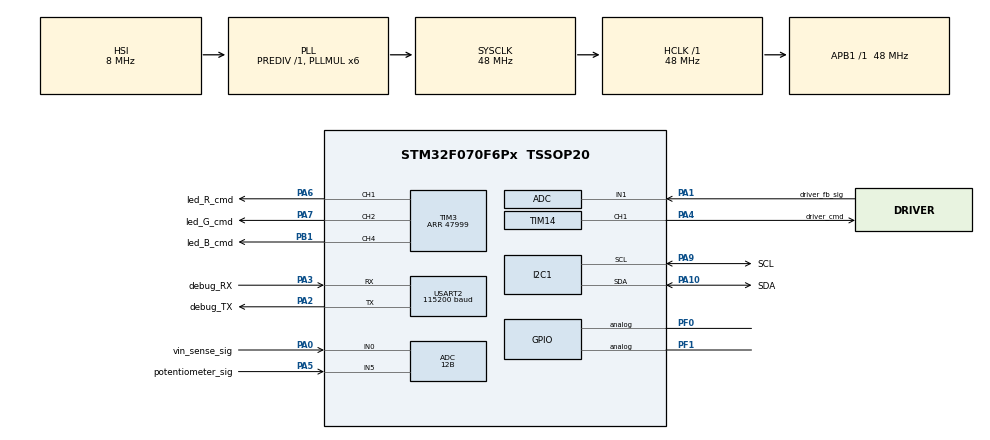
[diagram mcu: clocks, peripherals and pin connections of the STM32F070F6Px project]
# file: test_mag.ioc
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ADC.ClockPrescaler=ADC_CLOCK_ASYNC_DIV1
ADC.ContinuousConvMode=DISABLE
ADC.DMAContinuousRequests=ENABLE
ADC.DataAlign=ADC_DATAALIGN_RIGHT
ADC.DiscontinuousConvMode=DISABLE
ADC.EOCSelection=ADC_EOC_SEQ_CONV
ADC.EnableAnalogWatchDog=false
ADC.ExternalTrigConv=ADC_EXTERNALTRIGCONV_T1_TRGO
ADC.ExternalTrigConvEdge=ADC_EXTERNALTRIGCONVEDGE_RISING
ADC.LowPowerAutoPowerOff=DISABLE
ADC.LowPowerAutoWait=DISABLE
ADC.Overrun=ADC_OVR_DATA_PRESERVED
ADC.Resolution=ADC_RESOLUTION_12B
ADC.SamplingTime=ADC_SAMPLETIME_7CYCLES_5
ADC.ScanConvMode=ADC_SCAN_DIRECTION_FORWARD
Dma.ADC.1.Direction=DMA_PERIPH_TO_MEMORY
Dma.ADC.1.Instance=DMA1_Channel1
Dma.ADC.1.MemDataAlignment=DMA_MDATAALIGN_HALFWORD
Dma.ADC.1.MemInc=DMA_MINC_ENABLE
Dma.ADC.1.Mode=DMA_NORMAL
Dma.ADC.1.PeriphDataAlignment=DMA_PDATAALIGN_HALFWORD
Dma.ADC.1.PeriphInc=DMA_PINC_DISABLE
Dma.ADC.1.Priority=DMA_PRIORITY_LOW
Dma.Request0=USART2_TX
Dma.Request1=ADC
Dma.USART2_TX.0.Direction=DMA_MEMORY_TO_PERIPH
Dma.USART2_TX.0.Instance=DMA1_Channel4
Dma.USART2_TX.0.MemDataAlignment=DMA_MDATAALIGN_BYTE
Dma.USART2_TX.0.MemInc=DMA_MINC_ENABLE
Dma.USART2_TX.0.Mode=DMA_NORMAL
Dma.USART2_TX.0.PeriphDataAlignment=DMA_PDATAALIGN_BYTE
Dma.USART2_TX.0.PeriphInc=DMA_PINC_DISABLE
Dma.USART2_TX.0.Priority=DMA_PRIORITY_LOW
Mcu.Family=STM32F0
Mcu.Name=STM32F070F6Px
Mcu.Package=TSSOP20
NVIC.DMA1_Channel1_IRQn=true\:0\:0\:false\:false\:true
NVIC.DMA1_Channel4_5_IRQn=true\:0\:0\:false\:false\:true
PA0.GPIO_Label=vin_sense_sig
PA0.Mode=IN0
PA0.Signal=ADC_IN0
PA1.GPIO_Label=driver_fb_sig
PA1.Mode=IN1
PA1.Signal=ADC_IN1
PA10.GPIO_Label=SDA
PA10.Mode=I2C
PA10.Signal=I2C1_SDA
PA13.Mode=Serial-WireDebug
PA13.Signal=SYS_SWDIO
PA14.Mode=Serial-WireDebug
PA14.Signal=SYS_SWCLK
PA2.GPIO_Label=debug_TX
PA2.GPIO_PuPd=GPIO_PULLUP
PA2.Mode=Asynchronous
PA2.Signal=USART2_TX
PA3.GPIO_Label=debug_RX
PA3.Mode=Asynchronous
PA3.Signal=USART2_RX
PA4.GPIO_Label=driver_cmd
PA4.Signal=S_TIM14_CH1
PA5.GPIO_Label=potentiometer_sig
PA5.Mode=IN5
PA5.Signal=ADC_IN5
PA6.GPIO_Label=led_R_cmd
PA6.GPIO_Speed=GPIO_SPEED_FREQ_LOW
PA6.Signal=S_TIM3_CH1
PA7.GPIO_Label=led_G_cmd
PA7.GPIO_Speed=GPIO_SPEED_FREQ_LOW
PA7.Signal=S_TIM3_CH2
PA9.GPIO_Label=SCL
PA9.Mode=I2C
PA9.Signal=I2C1_SCL
PB1.GPIO_Label=led_B_cmd
PB1.Signal=S_TIM3_CH4
PF0-OSC_IN.Signal=GPIO_Analog
PF1-OSC_OUT.Signal=GPIO_Analog
ProjectManager.HeapSize=0x200
ProjectManager.StackSize=0x400
ProjectManager.TargetToolchain=SW4STM32
RCC.AHBFreq_Value=48000000
RCC.APB1Freq_Value=48000000
RCC.APB1TimFreq_Value=48000000
RCC.HCLKFreq_Value=48000000
RCC.PLLMUL=RCC_PLL_MUL6
RCC.SYSCLKFreq_VALUE=48000000
RCC.SYSCLKSource=RCC_SYSCLKSOURCE_PLLCLK
SH.S_TIM14_CH1.0=TIM14_CH1,PWM Generation1 CH1
SH.S_TIM3_CH1.0=TIM3_CH1,PWM Generation1 CH1
SH.S_TIM3_CH2.0=TIM3_CH2,PWM Generation2 CH2
SH.S_TIM3_CH4.0=TIM3_CH4,PWM Generation4 CH4
TIM1.Period=4799
TIM1.TIM_MasterOutputTrigger=TIM_TRGO_UPDATE
TIM1.TIM_MasterSlaveMode=TIM_MASTERSLAVEMODE_ENABLE
TIM14.Period=47999
TIM14.Prescaler=99
TIM3.Channel-PWM\ Generation2\ CH2=TIM_CHANNEL_2
TIM3.Channel-PWM\ Generation4\ CH4=TIM_CHANNEL_4
TIM3.OCMode_PWM-PWM\ Generation1\ CH1=TIM_OCMODE_PWM2
TIM3.OCMode_PWM-PWM\ Generation2\ CH2=TIM_OCMODE_PWM2
TIM3.OCMode_PWM-PWM\ Generation4\ CH4=TIM_OCMODE_PWM2
TIM3.Period=47999
USART2.BaudRate=115200
USART2.WordLength=UART_WORDLENGTH_8B
VP_TIM14_VS_ClockSourceINT.Mode=Enable_Timer
VP_TIM1_VS_ClockSourceINT.Mode=Internal
board=test_mag

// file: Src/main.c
/**
 ******************************************************************************
 * File Name          : main.c
 * Description        : Main program body
 ******************************************************************************
 *
 * COPYRIGHT(c) 2016 STMicroelectronics
 *
 * Redistribution and use in source and binary forms, with or without modification,
 * are permitted provided that the following conditions are met:
 *   1. Redistributions of source code must retain the above copyright notice,
 *      this list of conditions and the following disclaimer.
 *   2. Redistributions in binary form must reproduce the above copyright notice,
 *      this list of conditions and the following disclaimer in the documentation
 *      and/or other materials provided with the distribution.
 *   3. Neither the name of STMicroelectronics nor the names of its contributors
 *      may be used to endorse or promote products derived from this software
 *      without specific prior written permission.
 *
 * THIS SOFTWARE IS PROVIDED BY THE COPYRIGHT HOLDERS AND CONTRIBUTORS "AS IS"
 * AND ANY EXPRESS OR IMPLIED WARRANTIES, INCLUDING, BUT NOT LIMITED TO, THE
 * IMPLIED WARRANTIES OF MERCHANTABILITY AND FITNESS FOR A PARTICULAR PURPOSE ARE
 * DISCLAIMED. IN NO EVENT SHALL THE COPYRIGHT HOLDER OR CONTRIBUTORS BE LIABLE
 * FOR ANY DIRECT, INDIRECT, INCIDENTAL, SPECIAL, EXEMPLARY, OR CONSEQUENTIAL
 * DAMAGES (INCLUDING, BUT NOT LIMITED TO, PROCUREMENT OF SUBSTITUTE GOODS OR
 * SERVICES; LOSS OF USE, DATA, OR PROFITS; OR BUSINESS INTERRUPTION) HOWEVER
 * CAUSED AND ON ANY THEORY OF LIABILITY, WHETHER IN CONTRACT, STRICT LIABILITY,
 * OR TORT (INCLUDING NEGLIGENCE OR OTHERWISE) ARISING IN ANY WAY OUT OF THE USE
 * OF THIS SOFTWARE, EVEN IF ADVISED OF THE POSSIBILITY OF SUCH DAMAGE.
 *
 ******************************************************************************
 */
#include "stm32f0xx_hal.h"

/* USER CODE BEGIN Includes */
#include "stm32f070x6.h"
#include "debug.h"
#include "config.h"

/* USER CODE END Includes */

ADC_HandleTypeDef hadc;
DMA_HandleTypeDef hdma_adc;

I2C_HandleTypeDef hi2c1;

TIM_HandleTypeDef htim1;
TIM_HandleTypeDef htim3;
TIM_HandleTypeDef htim14;

UART_HandleTypeDef huart2;
DMA_HandleTypeDef hdma_usart2_tx;

/* USER CODE BEGIN PV */
/* Private variables ---------------------------------------------------------*/
__attribute__((__section__(".eeprom"))) const char test[1024] =
		"THIS SOFTWARE IS PROVIDED BY THE COPYRIGHT HOLDERS AND CONTRIBUTORS \"AS IS"
				"\r\nAND ANY EXPRESS OR IMPLIED WARRANTIES, INCLUDING, BUT NOT LIMITED TO, THE";
/* USER CODE END PV */

void SystemClock_Config(void);
static void MX_GPIO_Init(void);
static void MX_DMA_Init(void);
static void MX_ADC_Init(void);
static void MX_I2C1_Init(void);
static void MX_TIM3_Init(void);
static void MX_TIM14_Init(void);
static void MX_USART2_UART_Init(void);
static void MX_TIM1_Init(void);

void HAL_TIM_MspPostInit(TIM_HandleTypeDef *htim);

/* USER CODE BEGIN PFP */
/* Private function prototypes -----------------------------------------------*/

/* USER CODE END PFP */

/* USER CODE BEGIN 0 */
#define BUF_SIZE 1500
int16_t buffer[BUF_SIZE];
/* USER CODE END 0 */

int main(void) {

	/* USER CODE BEGIN 1 */
#define LEN 18
	const uint16_t ADDR = 0x1E;
	uint8_t config[] = { 0x01, 0x80 };
	uint8_t config_standby = 0x00;
	uint8_t data[LEN];
	uint_fast16_t i, bCount = 0;
	uint32_t result;
	int16_t xyz;

	const uint8_t TEST_MODE = 3;
	/* USER CODE END 1 */

	/* MCU Configuration----------------------------------------------------------*/

	/* Reset of all peripherals, Initializes the Flash interface and the Systick. */
	HAL_Init();

	/* Configure the system clock */
	SystemClock_Config();

	/* Initialize all configured peripherals */
	MX_GPIO_Init();
	MX_DMA_Init();
	MX_ADC_Init();
	MX_I2C1_Init();
	MX_TIM3_Init();
	MX_TIM14_Init();
	MX_USART2_UART_Init();
	MX_TIM1_Init();

	/* USER CODE BEGIN 2 */
	if (TEST_MODE == 3) {
		FLASH_EraseInitTypeDef in;
		uint32_t err;
		in.TypeErase = FLASH_TYPEERASE_PAGES;
		in.NbPages = 1;
		in.PageAddress =&test;
		debugPrint(test);
		HAL_FLASH_Unlock();
		__HAL_FLASH_CLEAR_FLAG(FLASH_FLAG_EOP | FLASH_FLAG_BSY | FLASH_FLAG_WRPERR | FLASH_FLAG_PGERR);
		HAL_FLASHEx_Erase(&in, &err);
		HAL_FLASH_Program(FLASH_TYPEPROGRAM_WORD,&test, 0x00555555);
		HAL_FLASH_Lock();
		debugPrint(test);
		while (1) {
		};
	}
	// I2C address scan
	if (TEST_MODE == 0) {
		debugPrint("I2C address scan\r\n");
		for (i = 0; i < 256; i++) {
			result = HAL_I2C_Master_Receive(&hi2c1, i, data, 1, 1000);
			if (result == HAL_OK) {
				debugPrint("found 0x%02x\r\n", i);
			}
		}
		debugPrint("I2C address scan finished\r\n");
	}
	HAL_I2C_Mem_Read(&hi2c1, ADDR, 0x10, I2C_MEMADD_SIZE_8BIT, &config_standby, 1, 1000);
	config_standby &= 0xfe; //set standby mode
	HAL_I2C_Mem_Write(&hi2c1, ADDR, 0x10, I2C_MEMADD_SIZE_8BIT, &config_standby, 1, 1000);
	do {
		// wait for standby mode
		HAL_I2C_Mem_Read(&hi2c1, ADDR, 0x08, I2C_MEMADD_SIZE_8BIT, &result, 1, 1000);
		HAL_Delay(200);
	} while (result != 0);
	result = HAL_I2C_Mem_Write(&hi2c1, ADDR, 0x10, I2C_MEMADD_SIZE_8BIT, config, 2, 1000);
	// Turn on heater PWM
	if (TEST_MODE == 1) {
		HAL_TIM_Base_Start(&htim14);
		HAL_TIM_PWM_Start(&htim14, TIM_CHANNEL_1);
		htim14.Instance->CCR1 = 15000;
	}
	if (TEST_MODE == 0) {
		result = HAL_I2C_Mem_Read(&hi2c1, ADDR, 0x00, I2C_MEMADD_SIZE_8BIT, data, LEN, 1000);
		if (result == HAL_OK) {
			for (i = 0; i < LEN; i++) {
				debugPrint("%u ", data[i]);
			}
			debugPrint("\r\n");
		}
	}
	HAL_Delay(100);
	//debugPrint("register write: %u\r\n", result);
	/* USER CODE END 2 */

	/* Infinite loop */
	while (1) {

		/* USER CODE BEGIN 3 */
		result = HAL_I2C_Mem_Read(&hi2c1, ADDR, 0x00, I2C_MEMADD_SIZE_8BIT, data, LEN, 1000);
		if (result == HAL_OK) {
			/*
			 for (i = 0; i < LEN; i++) {
			 debugPrint("%02u ", data[i]);
			 }
			 debugPrint("\r\n");
			 */
			if (data[0] != 0) {
				// new data ready
//				debugPrint("0x%02x\t", data[0x10]);
				for (i = 0; i < 3; i += 1) {
					xyz = ((int16_t) data[1 + i * 2] * (int16_t) 256) + data[2 + i * 2];
					if (TEST_MODE == 1) {
						buffer[bCount] = xyz;
						bCount++;

						if (bCount == BUF_SIZE / 2) {
							// Turn off heater PWM
							htim14.Instance->CCR1 = 0;
						}

						if (bCount >= BUF_SIZE) {
							break;
						}
					} else if (TEST_MODE == 2) {
						debugPrint("{%u,T,%d}", i, xyz);
					}
				}
				//debugPrint("\r\n");
			}
		} else {
			debugPrint("reading error\r\n");
		}
		if (TEST_MODE == 1) {
			if (bCount >= BUF_SIZE) {
				debugPrint("\r\n");
				for (i = 0; i < BUF_SIZE; i++) {
					debugPrint("%d\r\n", buffer[i]);
				}
				break;
			}
		}
	}

	while (1) {

	}
	/* USER CODE END 3 */

}

/** System Clock Configuration
 */
void SystemClock_Config(void) {

	RCC_OscInitTypeDef RCC_OscInitStruct;
	RCC_ClkInitTypeDef RCC_ClkInitStruct;
	RCC_PeriphCLKInitTypeDef PeriphClkInit;

	RCC_OscInitStruct.OscillatorType = RCC_OSCILLATORTYPE_HSI | RCC_OSCILLATORTYPE_HSI14;
	RCC_OscInitStruct.HSIState = RCC_HSI_ON;
	RCC_OscInitStruct.HSI14State = RCC_HSI14_ON;
	RCC_OscInitStruct.HSICalibrationValue = 16;
	RCC_OscInitStruct.HSI14CalibrationValue = 16;
	RCC_OscInitStruct.PLL.PLLState = RCC_PLL_ON;
	RCC_OscInitStruct.PLL.PLLSource = RCC_PLLSOURCE_HSI;
	RCC_OscInitStruct.PLL.PLLMUL = RCC_PLL_MUL6;
	RCC_OscInitStruct.PLL.PREDIV = RCC_PREDIV_DIV1;
	HAL_RCC_OscConfig(&RCC_OscInitStruct);

	RCC_ClkInitStruct.ClockType = RCC_CLOCKTYPE_HCLK | RCC_CLOCKTYPE_SYSCLK | RCC_CLOCKTYPE_PCLK1;
	RCC_ClkInitStruct.SYSCLKSource = RCC_SYSCLKSOURCE_PLLCLK;
	RCC_ClkInitStruct.AHBCLKDivider = RCC_SYSCLK_DIV1;
	RCC_ClkInitStruct.APB1CLKDivider = RCC_HCLK_DIV1;
	HAL_RCC_ClockConfig(&RCC_ClkInitStruct, FLASH_LATENCY_1);

	PeriphClkInit.PeriphClockSelection = RCC_PERIPHCLK_I2C1;
	PeriphClkInit.I2c1ClockSelection = RCC_I2C1CLKSOURCE_HSI;
	HAL_RCCEx_PeriphCLKConfig(&PeriphClkInit);

	HAL_SYSTICK_Config(HAL_RCC_GetHCLKFreq() / 1000);

	HAL_SYSTICK_CLKSourceConfig(SYSTICK_CLKSOURCE_HCLK);

	/* SysTick_IRQn interrupt configuration */
	HAL_NVIC_SetPriority(SysTick_IRQn, 0, 0);
}

/* ADC init function */
void MX_ADC_Init(void) {

	ADC_ChannelConfTypeDef sConfig;

	/**Configure the global features of the ADC (Clock, Resolution, Data Alignment and number of conversion)
	 */
	hadc.Instance = ADC1;
	hadc.Init.ClockPrescaler = ADC_CLOCK_ASYNC_DIV1;
	hadc.Init.Resolution = ADC_RESOLUTION_12B;
	hadc.Init.DataAlign = ADC_DATAALIGN_RIGHT;
	hadc.Init.ScanConvMode = ADC_SCAN_DIRECTION_FORWARD;
	hadc.Init.EOCSelection = ADC_EOC_SEQ_CONV;
	hadc.Init.LowPowerAutoWait = DISABLE;
	hadc.Init.LowPowerAutoPowerOff = DISABLE;
	hadc.Init.ContinuousConvMode = DISABLE;
	hadc.Init.DiscontinuousConvMode = DISABLE;
	hadc.Init.ExternalTrigConv = ADC_EXTERNALTRIGCONV_T1_TRGO;
	hadc.Init.ExternalTrigConvEdge = ADC_EXTERNALTRIGCONVEDGE_RISING;
	hadc.Init.DMAContinuousRequests = ENABLE;
	hadc.Init.Overrun = ADC_OVR_DATA_PRESERVED;
	HAL_ADC_Init(&hadc);

	/**Configure for the selected ADC regular channel to be converted.
	 */
	sConfig.Channel = ADC_CHANNEL_0;
	sConfig.Rank = ADC_RANK_CHANNEL_NUMBER;
	sConfig.SamplingTime = ADC_SAMPLETIME_7CYCLES_5;
	HAL_ADC_ConfigChannel(&hadc, &sConfig);

	/**Configure for the selected ADC regular channel to be converted.
	 */
	sConfig.Channel = ADC_CHANNEL_1;
	HAL_ADC_ConfigChannel(&hadc, &sConfig);

	/**Configure for the selected ADC regular channel to be converted.
	 */
	sConfig.Channel = ADC_CHANNEL_5;
	HAL_ADC_ConfigChannel(&hadc, &sConfig);

}

/* I2C1 init function */
void MX_I2C1_Init(void) {

	hi2c1.Instance = I2C1;
	hi2c1.Init.Timing = 0x2000090E;
	hi2c1.Init.OwnAddress1 = 0;
	hi2c1.Init.AddressingMode = I2C_ADDRESSINGMODE_7BIT;
	hi2c1.Init.DualAddressMode = I2C_DUALADDRESS_DISABLE;
	hi2c1.Init.OwnAddress2 = 0;
	hi2c1.Init.OwnAddress2Masks = I2C_OA2_NOMASK;
	hi2c1.Init.GeneralCallMode = I2C_GENERALCALL_DISABLE;
	hi2c1.Init.NoStretchMode = I2C_NOSTRETCH_DISABLE;
	HAL_I2C_Init(&hi2c1);

	/**Configure Analogue filter
	 */
	HAL_I2CEx_ConfigAnalogFilter(&hi2c1, I2C_ANALOGFILTER_ENABLE);

}

/* TIM1 init function */
void MX_TIM1_Init(void) {

	TIM_ClockConfigTypeDef sClockSourceConfig;
	TIM_MasterConfigTypeDef sMasterConfig;

	htim1.Instance = TIM1;
	htim1.Init.Prescaler = 0;
	htim1.Init.CounterMode = TIM_COUNTERMODE_UP;
	htim1.Init.Period = 4799;
	htim1.Init.ClockDivision = TIM_CLOCKDIVISION_DIV1;
	htim1.Init.RepetitionCounter = 0;
	HAL_TIM_Base_Init(&htim1);

	sClockSourceConfig.ClockSource = TIM_CLOCKSOURCE_INTERNAL;
	HAL_TIM_ConfigClockSource(&htim1, &sClockSourceConfig);

	sMasterConfig.MasterOutputTrigger = TIM_TRGO_UPDATE;
	sMasterConfig.MasterSlaveMode = TIM_MASTERSLAVEMODE_ENABLE;
	HAL_TIMEx_MasterConfigSynchronization(&htim1, &sMasterConfig);

}

/* TIM3 init function */
void MX_TIM3_Init(void) {

	TIM_MasterConfigTypeDef sMasterConfig;
	TIM_OC_InitTypeDef sConfigOC;

	htim3.Instance = TIM3;
	htim3.Init.Prescaler = 0;
	htim3.Init.CounterMode = TIM_COUNTERMODE_UP;
	htim3.Init.Period = 47999;
	htim3.Init.ClockDivision = TIM_CLOCKDIVISION_DIV1;
	HAL_TIM_PWM_Init(&htim3);

	sMasterConfig.MasterOutputTrigger = TIM_TRGO_RESET;
	sMasterConfig.MasterSlaveMode = TIM_MASTERSLAVEMODE_DISABLE;
	HAL_TIMEx_MasterConfigSynchronization(&htim3, &sMasterConfig);

	sConfigOC.OCMode = TIM_OCMODE_PWM2;
	sConfigOC.Pulse = 0;
	sConfigOC.OCPolarity = TIM_OCPOLARITY_HIGH;
	sConfigOC.OCFastMode = TIM_OCFAST_DISABLE;
	HAL_TIM_PWM_ConfigChannel(&htim3, &sConfigOC, TIM_CHANNEL_1);

	HAL_TIM_PWM_ConfigChannel(&htim3, &sConfigOC, TIM_CHANNEL_2);

	HAL_TIM_PWM_ConfigChannel(&htim3, &sConfigOC, TIM_CHANNEL_4);

	HAL_TIM_MspPostInit(&htim3);

}

/* TIM14 init function */
void MX_TIM14_Init(void) {

	TIM_OC_InitTypeDef sConfigOC;

	htim14.Instance = TIM14;
	htim14.Init.Prescaler = 9;
	htim14.Init.CounterMode = TIM_COUNTERMODE_UP;
	htim14.Init.Period = 47999;
	htim14.Init.ClockDivision = TIM_CLOCKDIVISION_DIV1;
	HAL_TIM_Base_Init(&htim14);

	HAL_TIM_PWM_Init(&htim14);

	sConfigOC.OCMode = TIM_OCMODE_PWM1;
	sConfigOC.Pulse = 0;
	sConfigOC.OCPolarity = TIM_OCPOLARITY_HIGH;
	sConfigOC.OCFastMode = TIM_OCFAST_DISABLE;
	HAL_TIM_PWM_ConfigChannel(&htim14, &sConfigOC, TIM_CHANNEL_1);

	HAL_TIM_MspPostInit(&htim14);

}

/* USART2 init function */
void MX_USART2_UART_Init(void) {

	huart2.Instance = USART2;
	huart2.Init.BaudRate = 500000;
	huart2.Init.WordLength = UART_WORDLENGTH_8B;
	huart2.Init.StopBits = UART_STOPBITS_1;
	huart2.Init.Parity = UART_PARITY_NONE;
	huart2.Init.Mode = UART_MODE_TX_RX;
	huart2.Init.HwFlowCtl = UART_HWCONTROL_NONE;
	huart2.Init.OverSampling = UART_OVERSAMPLING_16;
	huart2.Init.OneBitSampling = UART_ONE_BIT_SAMPLE_DISABLE;
	huart2.AdvancedInit.AdvFeatureInit = UART_ADVFEATURE_NO_INIT;
	HAL_UART_Init(&huart2);

}

void MX_DMA_Init(void) {
	/* DMA controller clock enable */
	__HAL_RCC_DMA1_CLK_ENABLE()
	;

	/* DMA interrupt init */
	/* DMA1_Channel1_IRQn interrupt configuration */
	HAL_NVIC_SetPriority(DMA1_Channel1_IRQn, 0, 0);
	HAL_NVIC_EnableIRQ(DMA1_Channel1_IRQn);
	/* DMA1_Channel4_5_IRQn interrupt configuration */
	HAL_NVIC_SetPriority(DMA1_Channel4_5_IRQn, 0, 0);
	HAL_NVIC_EnableIRQ(DMA1_Channel4_5_IRQn);

}

/** Configure pins as
 * Analog
 * Input
 * Output
 * EVENT_OUT
 * EXTI
 * Free pins are configured automatically as Analog (this feature is enabled through
 * the Code Generation settings)
 */
void MX_GPIO_Init(void) {

	GPIO_InitTypeDef GPIO_InitStruct;

	/* GPIO Ports Clock Enable */
	__HAL_RCC_GPIOF_CLK_ENABLE()
	;
	__HAL_RCC_GPIOA_CLK_ENABLE()
	;
	__HAL_RCC_GPIOB_CLK_ENABLE()
	;

	/*Configure GPIO pins : PF0 PF1 */
	GPIO_InitStruct.Pin = GPIO_PIN_0 | GPIO_PIN_1;
	GPIO_InitStruct.Mode = GPIO_MODE_ANALOG;
	GPIO_InitStruct.Pull = GPIO_NOPULL;
	HAL_GPIO_Init(GPIOF, &GPIO_InitStruct);

}

/************************ (C) COPYRIGHT STMicroelectronics *****END OF FILE****/
